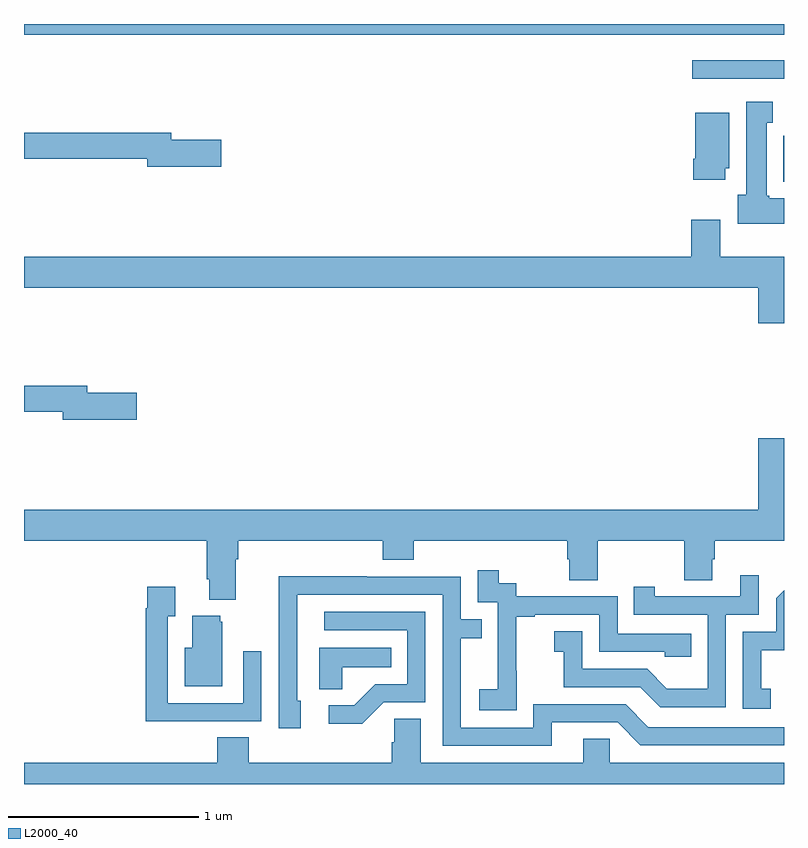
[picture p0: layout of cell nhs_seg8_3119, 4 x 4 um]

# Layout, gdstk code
import gdstk
lib = gdstk.Library(unit=1e-6, precision=1e-09)
def R(c, l, rs):  # rectangles x0, y0, x1, y1
    for r in rs: c.add(gdstk.rectangle(r[:2], r[2:], *l))
def P(c, l, *ps):  # polygons
    for p in ps: c.add(gdstk.Polygon(p, *l))
L2000_40 = (2000, 40)

nhs_seg8_3119 = lib.new_cell('nhs_seg8_3119')
R(nhs_seg8_3119, L2000_40, [(308.996,1105.07,309,1105.312), (308.517,1105.611,309,1105.708), (305,1105.844,309,1105.9)])
P(nhs_seg8_3119, L2000_40, [(309,1104.982),(308.922,1104.982),(308.922,1104.996),(308.908,1104.996),(308.908,1105.379),(308.941,1105.379),(308.941,1105.492),(308.801,1105.492),(308.801,1105.002),(308.756,1105.002),(308.756,1104.848),(309,1104.848)],
  [(308.692,1105.14),(308.713,1105.14),(308.713,1105.432),(308.534,1105.432),(308.534,1105.192),(308.522,1105.192),(308.522,1105.08),(308.692,1105.08)],
  [(306.037,1105.292),(305.776,1105.292),(305.776,1105.328),(305,1105.328),(305,1105.192),(305.648,1105.192),(305.648,1105.15),(306.037,1105.15)],
  [(309,1104.676),(308.665,1104.676),(308.665,1104.871),(308.513,1104.871),(308.513,1104.676),(305,1104.676),(305,1104.512),(308.864,1104.512),(308.864,1104.324),(309,1104.324)],
  [(305.593,1103.96),(305.332,1103.96),(305.332,1103.996),(305,1103.996),(305,1103.86),(305.204,1103.86),(305.204,1103.818),(305.593,1103.818)],
  [(306.115,1103.084),(306.128,1103.084),(306.128,1103.18),(306.887,1103.18),(306.887,1103.081),(307.052,1103.081),(307.052,1103.18),(307.859,1103.18),(307.859,1103.082),(307.871,1103.082),(307.871,1102.972),(308.019,1102.972),(308.019,1103.18),(308.476,1103.18),(308.476,1102.972),(308.623,1102.972),(308.623,1103.082),(308.636,1103.082),(308.636,1103.18),(309,1103.18),(309,1103.719),(308.864,1103.719),(308.864,1103.344),(305,1103.344),(305,1103.18),(305.963,1103.18),(305.963,1102.978),(305.975,1102.978),(305.975,1102.871),(306.115,1102.871)],
  [(307.593,1102.495),(307.592,1102.495),(307.592,1102.779),(307.687,1102.779),(307.687,1102.791),(308.028,1102.791),(308.028,1102.596),(308.373,1102.596),(308.373,1102.569),(308.513,1102.569),(308.513,1102.692),(308.124,1102.692),(308.124,1102.887),(307.59,1102.887),(307.59,1102.956),(307.498,1102.956),(307.498,1103.026),(307.389,1103.026),(307.389,1102.857),(307.494,1102.857),(307.494,1102.628),(307.493,1102.628),(307.493,1102.399),(307.395,1102.399),(307.395,1102.289),(307.593,1102.289)],
  [(308.694,1102.791),(308.868,1102.791),(308.868,1102.999),(308.771,1102.999),(308.771,1102.887),(308.32,1102.887),(308.32,1102.939),(308.209,1102.939),(308.209,1102.791),(308.598,1102.791),(308.598,1102.402),(308.384,1102.402),(308.28,1102.506),(307.938,1102.506),(307.938,1102.705),(307.791,1102.705),(307.791,1102.595),(307.84,1102.595),(307.84,1102.41),(308.243,1102.41),(308.348,1102.305),(308.694,1102.305)],
  [(307.777,1102.224),(308.124,1102.224),(308.244,1102.104),(309,1102.104),(309,1102.2),(308.286,1102.2),(308.166,1102.32),(307.68,1102.32),(307.68,1102.197),(307.299,1102.197),(307.299,1102.666),(307.409,1102.666),(307.409,1102.767),(307.299,1102.767),(307.299,1102.992),(306.803,1102.992),(306.803,1102.994),(306.34,1102.994),(306.34,1102.687),(306.342,1102.687),(306.342,1102.194),(306.457,1102.194),(306.457,1102.338),(306.438,1102.338),(306.438,1102.896),(307.203,1102.896),(307.203,1102.101),(307.777,1102.101)],
  [(305.933,1102.23),(306.249,1102.23),(306.249,1102.6),(306.153,1102.6),(306.153,1102.326),(305.757,1102.326),(305.757,1102.783),(305.797,1102.783),(305.797,1102.939),(305.649,1102.939),(305.649,1102.826),(305.641,1102.826),(305.641,1102.229),(305.933,1102.229)],
  [(308.93,1102.401),(308.881,1102.401),(308.881,1102.605),(309,1102.605),(309,1102.92),(308.958,1102.878),(308.958,1102.701),(308.784,1102.701),(308.784,1102.296),(308.93,1102.296)],
  [(306.894,1102.329),(307.113,1102.329),(307.113,1102.806),(306.579,1102.806),(306.579,1102.71),(307.017,1102.71),(307.017,1102.425),(306.848,1102.425),(306.737,1102.314),(306.603,1102.314),(306.603,1102.217),(306.781,1102.217)],
  [(306.043,1102.755),(306.032,1102.755),(306.032,1102.786),(305.885,1102.786),(305.885,1102.618),(305.846,1102.618),(305.846,1102.415),(306.043,1102.415)],
  [(306.675,1102.514),(306.932,1102.514),(306.932,1102.618),(306.554,1102.618),(306.554,1102.399),(306.675,1102.399)],
  [(309,1102.012),(308.082,1102.012),(308.082,1102.139),(307.943,1102.139),(307.943,1102.012),(307.087,1102.012),(307.087,1102.244),(306.948,1102.244),(306.948,1102.121),(306.935,1102.121),(306.935,1102.012),(306.182,1102.012),(306.182,1102.145),(306.017,1102.145),(306.017,1102.012),(305,1102.012),(305,1101.9),(309,1101.9)])

lib.write_gds('nhs_seg8_3119.gds')
